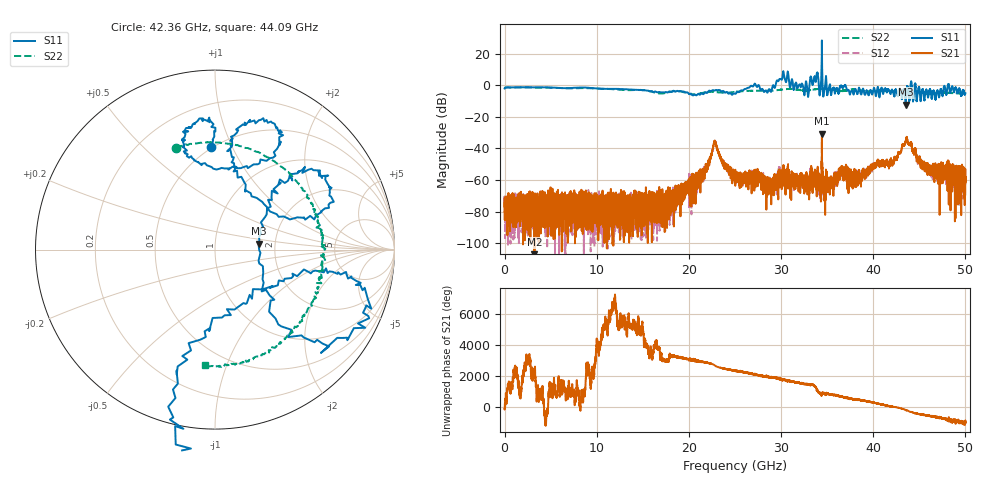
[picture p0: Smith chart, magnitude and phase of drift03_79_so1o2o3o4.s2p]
!Created with skrf (http://scikit-rf.org).
# Hz S RI R 50.0
!freq ReS11 ImS11 ReS21 ImS21 ReS12 ImS12 ReS22 ImS22
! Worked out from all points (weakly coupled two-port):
!   10000 points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, 5.3 MHz to 50 GHz, reference 50 ohm
!   highest |S21| = -30.65 dB at 34.43 GHz (marker M1); lowest = -111.1 dB at 3.245 GHz (marker M2)
!   lowest |S11| = -12.2 dB at 43.52 GHz (marker M3), VSWR 1.65, Z = 81.8 + j5.6 ohm
!   |S11| at or under -10 dB: 43.48238 GHz to 43.55135 GHz (68.98 MHz wide, 0.159 % of centre); 43.89858 GHz to 43.90155 GHz (2.973 MHz wide, 0.00677 % of centre); 44.30684 GHz to 44.31769 GHz (10.85 MHz wide, 0.0245 % of centre) (the widest 3 of 6)
!   |S22| runs from -5.9 to -1.3 dB; largest |S21 - S12| = 0.02
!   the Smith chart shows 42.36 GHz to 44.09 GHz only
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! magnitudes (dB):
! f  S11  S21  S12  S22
! 5.3 MHz  -2.1  -76.7  -74.5  -2.1
! 3.245 GHz  -1.4  -111.1  -77.4  -1.5
! 8.34 GHz  -1.5  -66.1  -73.1  -1.9
! 16.67 GHz  -4.4  -75.2  -82.0  -5.1
! 20.69 GHz  -6.1  -68.3  -58.9  -5.8
! 21.89 GHz  -4.7  -51.1  -52.2  -4.4
! 22.82 GHz  -3.4  -35.4  -35.5  -4.5
! 25.01 GHz  -5.5  -57.2  -57.8  -4.3
! 27.02 GHz  -0.3  -57.1  -55.2  -3.5
! 28.72 GHz  -2.5  -62.2  -63.6  -3.5
! 30.14 GHz  4.5  -55.4  -56.3  -2.8
! 32.74 GHz  2.0  -61.0  -58.8  -3.4
! 33.34 GHz  2.7  -59.8  -56.8  -2.9
! 33.82 GHz  4.0  -60.0  -55.7  -2.5
! 34.43 GHz  28.3  -30.6  -36.0  -2.2
! 35.43 GHz  -6.3  -58.3  -58.8  -2.8
! 36.8 GHz  -1.1  -60.3  -55.6  -3.4
! 38.51 GHz  -2.2  -56.5  -56.9  -3.1
! 41.67 GHz  -2.8  -50.0  -50.6  -3.6
! 43.52 GHz  -12.2  -35.6  -35.8  -4.2
! 46.31 GHz  -6.6  -51.8  -53.2  -5.6
! 50 GHz  -5.2  -58.0  -56.2  -4.9
